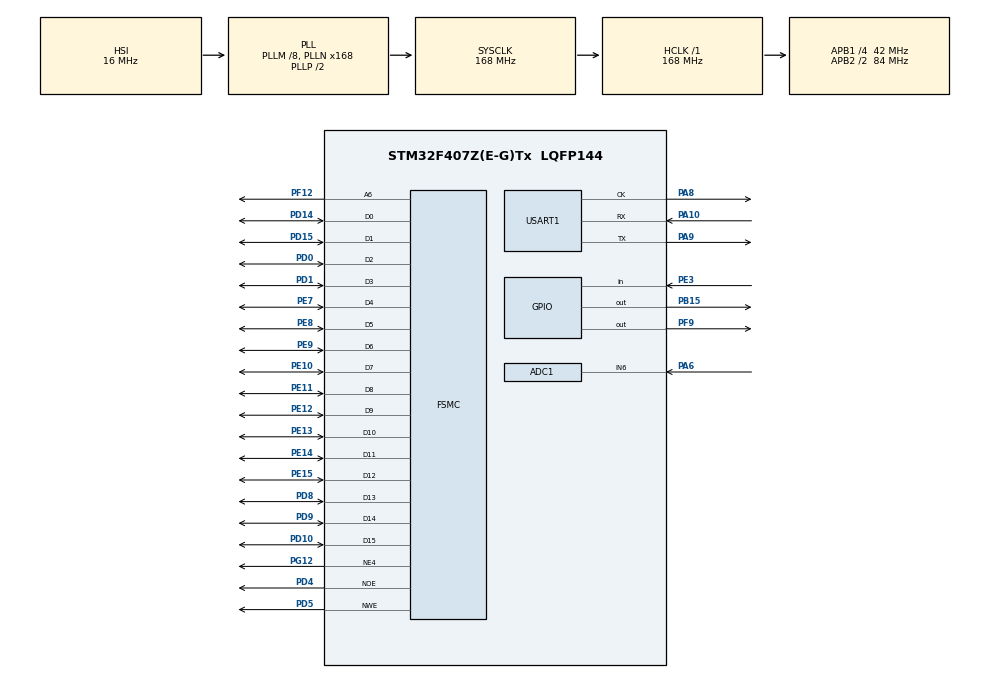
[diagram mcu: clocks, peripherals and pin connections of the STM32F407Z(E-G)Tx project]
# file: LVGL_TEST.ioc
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ADC1.Channel-1\#ChannelRegularConversion=ADC_CHANNEL_6
ADC1.ExternalTrigConv=ADC_EXTERNALTRIGCONV_T3_TRGO
ADC1.NbrOfConversionFlag=1
ADC1.Rank-1\#ChannelRegularConversion=1
ADC1.SamplingTime-1\#ChannelRegularConversion=ADC_SAMPLETIME_3CYCLES
ADC1.master=1
Dma.MEMTOMEM.0.Direction=DMA_MEMORY_TO_MEMORY
Dma.MEMTOMEM.0.FIFOMode=DMA_FIFOMODE_ENABLE
Dma.MEMTOMEM.0.FIFOThreshold=DMA_FIFO_THRESHOLD_FULL
Dma.MEMTOMEM.0.Instance=DMA2_Stream0
Dma.MEMTOMEM.0.MemBurst=DMA_MBURST_SINGLE
Dma.MEMTOMEM.0.MemDataAlignment=DMA_MDATAALIGN_HALFWORD
Dma.MEMTOMEM.0.MemInc=DMA_MINC_ENABLE
Dma.MEMTOMEM.0.Mode=DMA_NORMAL
Dma.MEMTOMEM.0.PeriphBurst=DMA_PBURST_SINGLE
Dma.MEMTOMEM.0.PeriphDataAlignment=DMA_PDATAALIGN_HALFWORD
Dma.MEMTOMEM.0.PeriphInc=DMA_PINC_ENABLE
Dma.MEMTOMEM.0.Priority=DMA_PRIORITY_LOW
Dma.Request0=MEMTOMEM
FSMC.ExtendedMode1=FSMC_EXTENDED_MODE_ENABLE
Mcu.Family=STM32F4
Mcu.Name=STM32F407Z(E-G)Tx
Mcu.Package=LQFP144
NVIC.ADC_IRQn=true\:0\:0\:false\:false\:true\:true\:true\:true
NVIC.HASH_RNG_IRQn=true\:0\:0\:false\:false\:true\:true\:true\:true
NVIC.PriorityGroup=NVIC_PRIORITYGROUP_4
NVIC.TIM3_IRQn=true\:0\:0\:false\:false\:true\:true\:true\:true
NVIC.USART1_IRQn=true\:0\:0\:false\:false\:true\:true\:true\:true
PA10.Mode=Synchronous
PA10.Signal=USART1_RX
PA13.Mode=Serial_Wire
PA13.Signal=SYS_JTMS-SWDIO
PA14.Mode=Serial_Wire
PA14.Signal=SYS_JTCK-SWCLK
PA6.Signal=ADCx_IN6
PA8.Mode=Synchronous
PA8.Signal=USART1_CK
PA9.Mode=Synchronous
PA9.Signal=USART1_TX
PB15.GPIO_PuPd=GPIO_PULLUP
PB15.GPIO_Speed=GPIO_SPEED_FREQ_VERY_HIGH
PB15.PinState=GPIO_PIN_SET
PB15.Signal=GPIO_Output
PC14-OSC32_IN.Mode=LSE-External-Oscillator
PC14-OSC32_IN.Signal=RCC_OSC32_IN
PC15-OSC32_OUT.Mode=LSE-External-Oscillator
PC15-OSC32_OUT.Signal=RCC_OSC32_OUT
PD0.Signal=FSMC_D2_DA2
PD1.Signal=FSMC_D3_DA3
PD10.Signal=FSMC_D15_DA15
PD14.Signal=FSMC_D0_DA0
PD15.Signal=FSMC_D1_DA1
PD4.Signal=FSMC_NOE
PD5.Signal=FSMC_NWE
PD8.Signal=FSMC_D13_DA13
PD9.Signal=FSMC_D14_DA14
PE10.Signal=FSMC_D7_DA7
PE11.Signal=FSMC_D8_DA8
PE12.Signal=FSMC_D9_DA9
PE13.Signal=FSMC_D10_DA10
PE14.Signal=FSMC_D11_DA11
PE15.Signal=FSMC_D12_DA12
PE3.GPIO_PuPd=GPIO_PULLUP
PE3.Signal=GPIO_Input
PE7.Signal=FSMC_D4_DA4
PE8.Signal=FSMC_D5_DA5
PE9.Signal=FSMC_D6_DA6
PF12.Signal=FSMC_A6
PF9.GPIO_PuPd=GPIO_PULLUP
PF9.GPIO_Speed=GPIO_SPEED_FREQ_HIGH
PF9.PinState=GPIO_PIN_SET
PF9.Signal=GPIO_Output
PG12.Mode=NorPsramChipSelect4_1
PG12.Signal=FSMC_NE4
PH0-OSC_IN.Mode=HSE-External-Oscillator
PH0-OSC_IN.Signal=RCC_OSC_IN
PH1-OSC_OUT.Mode=HSE-External-Oscillator
PH1-OSC_OUT.Signal=RCC_OSC_OUT
ProjectManager.HeapSize=0x200
ProjectManager.StackSize=0x400
ProjectManager.TargetToolchain=STM32CubeIDE
RCC.48MHZClocksFreq_Value=48000000
RCC.AHBFreq_Value=168000000
RCC.APB1CLKDivider=RCC_HCLK_DIV4
RCC.APB1Freq_Value=42000000
RCC.APB1TimFreq_Value=84000000
RCC.APB2CLKDivider=RCC_HCLK_DIV2
RCC.APB2Freq_Value=84000000
RCC.APB2TimFreq_Value=168000000
RCC.CortexFreq_Value=168000000
RCC.HCLKFreq_Value=168000000
RCC.HSE_VALUE=25000000
RCC.HSI_VALUE=16000000
RCC.PLLM=8
RCC.PLLN=168
RCC.PLLQ=7
RCC.SYSCLKFreq_VALUE=168000000
RCC.SYSCLKSource=RCC_SYSCLKSOURCE_PLLCLK
RCC.VCOOutputFreq_Value=336000000
SH.ADCx_IN6.0=ADC1_IN6,IN6
SH.FSMC_A6.0=FSMC_A6,A6_1
SH.FSMC_D0_DA0.0=FSMC_D0,16b-d1
SH.FSMC_D10_DA10.0=FSMC_D10,16b-d1
SH.FSMC_D11_DA11.0=FSMC_D11,16b-d1
SH.FSMC_D12_DA12.0=FSMC_D12,16b-d1
SH.FSMC_D13_DA13.0=FSMC_D13,16b-d1
SH.FSMC_D14_DA14.0=FSMC_D14,16b-d1
SH.FSMC_D15_DA15.0=FSMC_D15,16b-d1
SH.FSMC_D1_DA1.0=FSMC_D1,16b-d1
SH.FSMC_D2_DA2.0=FSMC_D2,16b-d1
SH.FSMC_D3_DA3.0=FSMC_D3,16b-d1
SH.FSMC_D4_DA4.0=FSMC_D4,16b-d1
SH.FSMC_D5_DA5.0=FSMC_D5,16b-d1
SH.FSMC_D6_DA6.0=FSMC_D6,16b-d1
SH.FSMC_D7_DA7.0=FSMC_D7,16b-d1
SH.FSMC_D8_DA8.0=FSMC_D8,16b-d1
SH.FSMC_D9_DA9.0=FSMC_D9,16b-d1
SH.FSMC_NOE.0=FSMC_NOE,Lcd1
SH.FSMC_NWE.0=FSMC_NWE,Lcd1
TIM2.AutoReloadPreload=TIM_AUTORELOAD_PRELOAD_ENABLE
TIM2.Period=10-1
TIM2.Prescaler=84-1
TIM2.TIM_MasterOutputTrigger=TIM_TRGO_UPDATE
TIM3.Period=10-1
TIM3.Prescaler=84-1
TIM3.TIM_MasterOutputTrigger=TIM_TRGO_UPDATE
USART1.VirtualMode=VM_SYNC
VP_RNG_VS_RNG.Mode=RNG_Activate
VP_TIM2_VS_ClockSourceINT.Mode=Internal
VP_TIM3_VS_ClockSourceINT.Mode=Internal
VP_TIM3_VS_ClockSourceITR.Mode=TriggerSource_ITR0
board=custom

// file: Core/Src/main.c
/* USER CODE BEGIN Header */
/**
  ******************************************************************************
  * @file           : main.c
  * @brief          : Main program body
  ******************************************************************************
  * @attention
  *
  * Copyright (c) 2023 STMicroelectronics.
  * All rights reserved.
  *
  * This software is licensed under terms that can be found in the LICENSE file
  * in the root directory of this software component.
  * If no LICENSE file comes with this software, it is provided AS-IS.
  *
  ******************************************************************************
  */
/* USER CODE END Header */
#include "main.h"
#include "adc.h"
#include "dma.h"
#include "rng.h"
#include "tim.h"
#include "usart.h"
#include "gpio.h"
#include "fsmc.h"

/* USER CODE BEGIN Includes */
#include "lcd.h"
#include "touch.h"
#include "delay.h"
#include "lvgl.h"
#include "lv_port_disp.h"
#include "lv_port_indev.h"
#include "lv_demo_music.h"
#include "gui_guider.h"
#include "events_init.h"
#include "src/lv_100ask_pinyin_ime/lv_100ask_pinyin_ime.h"
#include "widgets_init.h"

/* USER CODE END Includes */

/* USER CODE BEGIN PTD */
lv_obj_t *scr;
lv_ui guider_ui;
/* USER CODE END PTD */

void SystemClock_Config(void);
/* USER CODE BEGIN PFP */
float ADC1_NUM[1024];
/* USER CODE END PFP */

int main(void)
{

  /* MCU Configuration--------------------------------------------------------*/

  /* Reset of all peripherals, Initializes the Flash interface and the Systick. */
  HAL_Init();

  /* Configure the system clock */
  SystemClock_Config();

  /* Initialize all configured peripherals */
  MX_GPIO_Init();
  MX_DMA_Init();
  MX_TIM3_Init();
  MX_FSMC_Init();
  MX_ADC1_Init();
  MX_TIM2_Init();
  MX_RNG_Init();
  MX_USART1_Init();
  /* USER CODE BEGIN 2 */
    HAL_TIM_Base_Start_IT(&htim3);
    HAL_TIM_Base_Start_IT(&htim2);
    HAL_ADC_Start_IT(&hadc1);//初始化ADC采集
    delay_init(168);//初始化正电原子的延迟函数（参数是根据芯片的晶振）
    lcd_init();//屏幕初始化
    lcd_display_dir(1);//将屏幕设置为横屏
    tp_dev.init();//触屏初始化
    lv_init();//lvgl初始化
    lv_port_disp_init();//lvgl接口初始化
    lv_port_indev_init();//lvgl触摸初始化
    setup_ui(&guider_ui);
    events_init(&guider_ui);
  /* USER CODE END 2 */

  /* Infinite loop */
    lv_chart_series_t *ser1=lv_chart_add_series(guider_ui.screen_1_chart_1,lv_color_hex(0x000000),LV_CHART_AXIS_PRIMARY_Y);//指定的颜色、屏幕和图表ID
    /* USER CODE BEGIN WHILE */
    while (1) {
        for (int i = 0; i < 1024; ++i) {
            ADC1_NUM[i] = HAL_ADC_GetValue(&hadc1) * 3.3 / 4096;//采集ADC值
        }
        for (int i = 0; i < 1024; ++i) {
            lv_chart_set_next_value(guider_ui.screen_1_chart_1, ser1, ADC1_NUM[i] * 10);
        }

        lv_task_handler();
        tp_dev.scan(1);
    /* USER CODE END WHILE */

    }
}

void SystemClock_Config(void)
{
  RCC_OscInitTypeDef RCC_OscInitStruct = {0};
  RCC_ClkInitTypeDef RCC_ClkInitStruct = {0};

  /** Configure the main internal regulator output voltage
  */
  __HAL_RCC_PWR_CLK_ENABLE();
  __HAL_PWR_VOLTAGESCALING_CONFIG(PWR_REGULATOR_VOLTAGE_SCALE1);

  /** Initializes the RCC Oscillators according to the specified parameters
  * in the RCC_OscInitTypeDef structure.
  */
  RCC_OscInitStruct.OscillatorType = RCC_OSCILLATORTYPE_HSI;
  RCC_OscInitStruct.HSIState = RCC_HSI_ON;
  RCC_OscInitStruct.HSICalibrationValue = RCC_HSICALIBRATION_DEFAULT;
  RCC_OscInitStruct.PLL.PLLState = RCC_PLL_ON;
  RCC_OscInitStruct.PLL.PLLSource = RCC_PLLSOURCE_HSI;
  RCC_OscInitStruct.PLL.PLLM = 8;
  RCC_OscInitStruct.PLL.PLLN = 168;
  RCC_OscInitStruct.PLL.PLLP = RCC_PLLP_DIV2;
  RCC_OscInitStruct.PLL.PLLQ = 7;
  if (HAL_RCC_OscConfig(&RCC_OscInitStruct) != HAL_OK)
  {
    Error_Handler();
  }

  /** Initializes the CPU, AHB and APB buses clocks
  */
  RCC_ClkInitStruct.ClockType = RCC_CLOCKTYPE_HCLK|RCC_CLOCKTYPE_SYSCLK
                              |RCC_CLOCKTYPE_PCLK1|RCC_CLOCKTYPE_PCLK2;
  RCC_ClkInitStruct.SYSCLKSource = RCC_SYSCLKSOURCE_PLLCLK;
  RCC_ClkInitStruct.AHBCLKDivider = RCC_SYSCLK_DIV1;
  RCC_ClkInitStruct.APB1CLKDivider = RCC_HCLK_DIV4;
  RCC_ClkInitStruct.APB2CLKDivider = RCC_HCLK_DIV2;

  if (HAL_RCC_ClockConfig(&RCC_ClkInitStruct, FLASH_LATENCY_5) != HAL_OK)
  {
    Error_Handler();
  }
}

void Error_Handler(void)
{
    __disable_irq();
    while (1) {
    }
}
